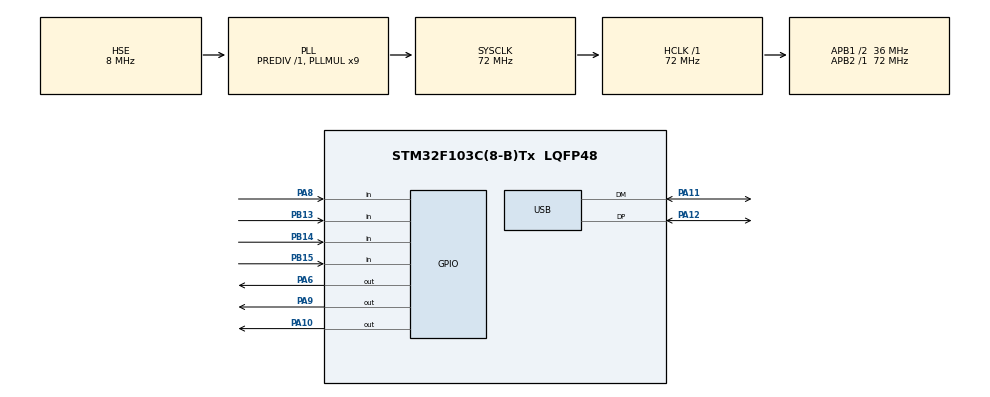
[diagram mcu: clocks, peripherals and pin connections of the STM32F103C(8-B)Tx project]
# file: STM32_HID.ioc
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Mcu.Family=STM32F1
Mcu.Name=STM32F103C(8-B)Tx
Mcu.Package=LQFP48
NVIC.PriorityGroup=NVIC_PRIORITYGROUP_4
NVIC.USB_LP_CAN1_RX0_IRQn=true\:0\:0\:false\:false\:true\:false
PA10.GPIO_Speed=GPIO_SPEED_FREQ_HIGH
PA10.PinState=GPIO_PIN_SET
PA10.Signal=GPIO_Output
PA11.Mode=Device
PA11.Signal=USB_DM
PA12.Mode=Device
PA12.Signal=USB_DP
PA13.Mode=Serial_Wire
PA13.Signal=SYS_JTMS-SWDIO
PA14.Mode=Serial_Wire
PA14.Signal=SYS_JTCK-SWCLK
PA6.GPIO_Speed=GPIO_SPEED_FREQ_HIGH
PA6.PinState=GPIO_PIN_SET
PA6.Signal=GPIO_Output
PA8.Signal=GPIO_Input
PA9.GPIO_Speed=GPIO_SPEED_FREQ_MEDIUM
PA9.PinState=GPIO_PIN_SET
PA9.Signal=GPIO_Output
PB13.Signal=GPIO_Input
PB14.Signal=GPIO_Input
PB15.Signal=GPIO_Input
PD0-OSC_IN.Mode=HSE-External-Oscillator
PD0-OSC_IN.Signal=RCC_OSC_IN
PD1-OSC_OUT.Mode=HSE-External-Oscillator
PD1-OSC_OUT.Signal=RCC_OSC_OUT
ProjectManager.HeapSize=0x200
ProjectManager.StackSize=0x400
ProjectManager.TargetToolchain=MDK-ARM V5
RCC.AHBFreq_Value=72000000
RCC.APB1CLKDivider=RCC_HCLK_DIV2
RCC.APB1Freq_Value=36000000
RCC.APB1TimFreq_Value=72000000
RCC.APB2Freq_Value=72000000
RCC.APB2TimFreq_Value=72000000
RCC.HCLKFreq_Value=72000000
RCC.PLLMUL=RCC_PLL_MUL9
RCC.SYSCLKFreq_VALUE=72000000
RCC.SYSCLKSource=RCC_SYSCLKSOURCE_PLLCLK
RCC.USBFreq_Value=48000000
RCC.USBPrescaler=RCC_USBCLKSOURCE_PLL_DIV1_5
USB_DEVICE.CLASS_NAME_FS=HID
USB_DEVICE.MANUFACTURER_STRING=Geekchun
USB_DEVICE.PID_HID_FS=20315
USB_DEVICE.PRODUCT_STRING_HID_FS=Geekchun KeyBoard
USB_DEVICE.VID=1055
USB_DEVICE.VirtualMode=Hid
USB_DEVICE.VirtualModeFS=Hid_FS
VP_USB_DEVICE_VS_USB_DEVICE_HID_FS.Mode=HID_FS
board=STM32_HID

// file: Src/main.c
/**
  ******************************************************************************
  * @file           : main.c
  * @brief          : Main program body
  ******************************************************************************
  * This notice applies to any and all portions of this file
  * that are not between comment pairs USER CODE BEGIN and
  * USER CODE END. Other portions of this file, whether
  * inserted by the user or by software development tools
  * are owned by their respective copyright owners.
  *
  * Copyright (c) 2020 STMicroelectronics International N.V.
  * All rights reserved.
  *
  * Redistribution and use in source and binary forms, with or without
  * modification, are permitted, provided that the following conditions are met:
  *
  * 1. Redistribution of source code must retain the above copyright notice,
  *    this list of conditions and the following disclaimer.
  * 2. Redistributions in binary form must reproduce the above copyright notice,
  *    this list of conditions and the following disclaimer in the documentation
  *    and/or other materials provided with the distribution.
  * 3. Neither the name of STMicroelectronics nor the names of other
  *    contributors to this software may be used to endorse or promote products
  *    derived from this software without specific written permission.
  * 4. This software, including modifications and/or derivative works of this
  *    software, must execute solely and exclusively on microcontroller or
  *    microprocessor devices manufactured by or for STMicroelectronics.
  * 5. Redistribution and use of this software other than as permitted under
  *    this license is void and will automatically terminate your rights under
  *    this license.
  *
  * THIS SOFTWARE IS PROVIDED BY STMICROELECTRONICS AND CONTRIBUTORS "AS IS"
  * AND ANY EXPRESS, IMPLIED OR STATUTORY WARRANTIES, INCLUDING, BUT NOT
  * LIMITED TO, THE IMPLIED WARRANTIES OF MERCHANTABILITY, FITNESS FOR A
  * PARTICULAR PURPOSE AND NON-INFRINGEMENT OF THIRD PARTY INTELLECTUAL PROPERTY
  * RIGHTS ARE DISCLAIMED TO THE FULLEST EXTENT PERMITTED BY LAW. IN NO EVENT
  * SHALL STMICROELECTRONICS OR CONTRIBUTORS BE LIABLE FOR ANY DIRECT, INDIRECT,
  * INCIDENTAL, SPECIAL, EXEMPLARY, OR CONSEQUENTIAL DAMAGES (INCLUDING, BUT NOT
  * LIMITED TO, PROCUREMENT OF SUBSTITUTE GOODS OR SERVICES; LOSS OF USE, DATA,
  * OR PROFITS; OR BUSINESS INTERRUPTION) HOWEVER CAUSED AND ON ANY THEORY OF
  * LIABILITY, WHETHER IN CONTRACT, STRICT LIABILITY, OR TORT (INCLUDING
  * NEGLIGENCE OR OTHERWISE) ARISING IN ANY WAY OUT OF THE USE OF THIS SOFTWARE,
  * EVEN IF ADVISED OF THE POSSIBILITY OF SUCH DAMAGE.
  *
  ******************************************************************************
  */
#include "main.h"
#include "stm32f1xx_hal.h"
#include "usb_device.h"
#include "usbd_hid.h"
#include "ws2812.h"
/* USER CODE BEGIN Includes */

/*Keyboard ID Buffer*/
uint8_t send_buf[8]={0,0,4,0,0,0,0,0};
uint8_t send_buf_1[8]={0};
extern USBD_HandleTypeDef hUsbDeviceFS;

/*WS2812 Color data*/
uint32_t WS2812_Color[4]={0x050f05,0x03030f,0x050f00,0x0f0005};
uint8_t color_num=0;

/* USER CODE END Includes */

/* USER CODE BEGIN PV */
/* Private variables ---------------------------------------------------------*/

/* USER CODE END PV */

void SystemClock_Config(void);
static void MX_GPIO_Init(void);

/* USER CODE BEGIN PFP */
/* Private function prototypes -----------------------------------------------*/

/* USER CODE END PFP */

/* USER CODE BEGIN 0 */

/*Set GPIOA (8,9,10)as output pin ,Set GPIOB (13,14,15)as input pin*/
void GPIO_AOBI(void)
{
	GPIO_InitTypeDef GPIO_InitStruct;
	HAL_GPIO_DeInit(GPIOA,GPIO_PIN_8|GPIO_PIN_9|GPIO_PIN_10);
	HAL_GPIO_DeInit(GPIOB,GPIO_PIN_13|GPIO_PIN_14|GPIO_PIN_15);

	GPIO_InitStruct.Pin = GPIO_PIN_8|GPIO_PIN_9|GPIO_PIN_10;
  GPIO_InitStruct.Mode = GPIO_MODE_OUTPUT_PP;
  GPIO_InitStruct.Speed = GPIO_SPEED_FREQ_HIGH;
  HAL_GPIO_Init(GPIOA, &GPIO_InitStruct);

  /*Configure GPIO pins : PB13 PB14 PB15 */
  GPIO_InitStruct.Pin = GPIO_PIN_13|GPIO_PIN_14|GPIO_PIN_15;
  GPIO_InitStruct.Mode = GPIO_MODE_INPUT;
  GPIO_InitStruct.Pull = GPIO_PULLDOWN;
  HAL_GPIO_Init(GPIOB, &GPIO_InitStruct);

	HAL_GPIO_WritePin(GPIOA, GPIO_PIN_8|GPIO_PIN_9|GPIO_PIN_10, GPIO_PIN_SET);
}
/*Set GPIOA (8,9,10)as input pin ,Set GPIOB (13,14,15)as output pin*/
void GPIO_AIBO(void)
{
	GPIO_InitTypeDef GPIO_InitStruct;
	HAL_GPIO_DeInit(GPIOA,GPIO_PIN_8|GPIO_PIN_9|GPIO_PIN_10);
	HAL_GPIO_DeInit(GPIOB,GPIO_PIN_13|GPIO_PIN_14|GPIO_PIN_15);

	GPIO_InitStruct.Pin = GPIO_PIN_8|GPIO_PIN_9|GPIO_PIN_10;
	GPIO_InitStruct.Mode = GPIO_MODE_INPUT;
  GPIO_InitStruct.Pull = GPIO_PULLUP;
  HAL_GPIO_Init(GPIOA, &GPIO_InitStruct);

  /*Configure GPIO pins : PB13 PB14 PB15 */
  GPIO_InitStruct.Pin = GPIO_PIN_13|GPIO_PIN_14|GPIO_PIN_15;
  GPIO_InitStruct.Mode = GPIO_MODE_OUTPUT_PP;
  GPIO_InitStruct.Speed = GPIO_SPEED_FREQ_HIGH;
  HAL_GPIO_Init(GPIOB, &GPIO_InitStruct);

	HAL_GPIO_WritePin(GPIOB, GPIO_PIN_13|GPIO_PIN_14|GPIO_PIN_15, GPIO_PIN_RESET);

}
/*Send a Keyboard ID*/
void send(uint8_t key)
{
		send_buf[2]=key;
		USBD_HID_SendReport(&hUsbDeviceFS,(uint8_t*)&send_buf_1,sizeof(send_buf_1));
		HAL_Delay(15);
		USBD_HID_SendReport(&hUsbDeviceFS,(uint8_t*)&send_buf,sizeof(send_buf));
		HAL_Delay(15);
		USBD_HID_SendReport(&hUsbDeviceFS,(uint8_t*)&send_buf_1,sizeof(send_buf_1));
}
/*Keys Scan function,if any button pushed ,call send()function send a id ,change led color*/
void key_scan(void)
{
	GPIO_AOBI();
	if(HAL_GPIO_ReadPin(GPIOB,GPIO_PIN_13)==GPIO_PIN_SET)
	{
		HAL_Delay(20);
		GPIO_AIBO();
		if(HAL_GPIO_ReadPin(GPIOA,GPIO_PIN_8)==GPIO_PIN_RESET)
		{
			send(32);

			WS2812_Color_Set(WS2812_Color[(++color_num)%4]);return ;
		}
		if(HAL_GPIO_ReadPin(GPIOA,GPIO_PIN_9)==GPIO_PIN_RESET)
		{
			send(35);

			WS2812_Color_Set(WS2812_Color[(++color_num)%4]);return ;
		}
		if(HAL_GPIO_ReadPin(GPIOA,GPIO_PIN_10)==GPIO_PIN_RESET)
		{
			send(38);

			WS2812_Color_Set(WS2812_Color[(++color_num)%4]);return ;
		}

	}
	if(HAL_GPIO_ReadPin(GPIOB,GPIO_PIN_14)==GPIO_PIN_SET)
	{
		HAL_Delay(20);
		GPIO_AIBO();
		if(HAL_GPIO_ReadPin(GPIOA,GPIO_PIN_8)==GPIO_PIN_RESET)
		{
			send(31);

			WS2812_Color_Set(WS2812_Color[(++color_num)%4]);return ;
		}
		if(HAL_GPIO_ReadPin(GPIOA,GPIO_PIN_9)==GPIO_PIN_RESET)
		{
			send(34);

			WS2812_Color_Set(WS2812_Color[(++color_num)%4]);return ;
		}
		if(HAL_GPIO_ReadPin(GPIOA,GPIO_PIN_10)==GPIO_PIN_RESET)
		{
			send(37);

			WS2812_Color_Set(WS2812_Color[(++color_num)%4]);return ;
		}
	}
		if(HAL_GPIO_ReadPin(GPIOB,GPIO_PIN_15)==GPIO_PIN_SET)
	{
			HAL_Delay(20);
			GPIO_AIBO();
			if(HAL_GPIO_ReadPin(GPIOA,GPIO_PIN_8)==GPIO_PIN_RESET)
		{
			send(30);

			WS2812_Color_Set(WS2812_Color[(++color_num)%4]);return ;
		}
		if(HAL_GPIO_ReadPin(GPIOA,GPIO_PIN_9)==GPIO_PIN_RESET)
		{
			send(33);

			WS2812_Color_Set(WS2812_Color[(++color_num)%4]);return ;
		}
		if(HAL_GPIO_ReadPin(GPIOA,GPIO_PIN_10)==GPIO_PIN_RESET)
		{
			send(36);

			WS2812_Color_Set(WS2812_Color[(++color_num)%4]);return ;
		}
	}
}
/* USER CODE END 0 */

int main(void)
{

  /* MCU Configuration----------------------------------------------------------*/

  /* Reset of all peripherals, Initializes the Flash interface and the Systick. */
  HAL_Init();

  /* Configure the system clock */
  SystemClock_Config();

  /* Initialize all configured peripherals */
  MX_GPIO_Init();
  MX_USB_DEVICE_Init();
	WS2812_Init();
	WS2812_Color_Set(0x050f05);

  /* Infinite loop */
  /* USER CODE BEGIN WHILE */
  while (1)
  {
		key_scan();
	//if(HAL_GPIO_ReadPin(GPIOB,GPIO_PIN_13)==GPIO_PIN_SET)send(7);
  /* USER CODE END WHILE */

  }

}

void SystemClock_Config(void)
{

  RCC_OscInitTypeDef RCC_OscInitStruct;
  RCC_ClkInitTypeDef RCC_ClkInitStruct;
  RCC_PeriphCLKInitTypeDef PeriphClkInit;

    /**Initializes the CPU, AHB and APB busses clocks
    */
  RCC_OscInitStruct.OscillatorType = RCC_OSCILLATORTYPE_HSE;
  RCC_OscInitStruct.HSEState = RCC_HSE_ON;
  RCC_OscInitStruct.HSEPredivValue = RCC_HSE_PREDIV_DIV1;
  RCC_OscInitStruct.HSIState = RCC_HSI_ON;
  RCC_OscInitStruct.PLL.PLLState = RCC_PLL_ON;
  RCC_OscInitStruct.PLL.PLLSource = RCC_PLLSOURCE_HSE;
  RCC_OscInitStruct.PLL.PLLMUL = RCC_PLL_MUL9;
  if (HAL_RCC_OscConfig(&RCC_OscInitStruct) != HAL_OK)
  {
    _Error_Handler(__FILE__, __LINE__);
  }

    /**Initializes the CPU, AHB and APB busses clocks
    */
  RCC_ClkInitStruct.ClockType = RCC_CLOCKTYPE_HCLK|RCC_CLOCKTYPE_SYSCLK
                              |RCC_CLOCKTYPE_PCLK1|RCC_CLOCKTYPE_PCLK2;
  RCC_ClkInitStruct.SYSCLKSource = RCC_SYSCLKSOURCE_PLLCLK;
  RCC_ClkInitStruct.AHBCLKDivider = RCC_SYSCLK_DIV1;
  RCC_ClkInitStruct.APB1CLKDivider = RCC_HCLK_DIV2;
  RCC_ClkInitStruct.APB2CLKDivider = RCC_HCLK_DIV1;

  if (HAL_RCC_ClockConfig(&RCC_ClkInitStruct, FLASH_LATENCY_2) != HAL_OK)
  {
    _Error_Handler(__FILE__, __LINE__);
  }

  PeriphClkInit.PeriphClockSelection = RCC_PERIPHCLK_USB;
  PeriphClkInit.UsbClockSelection = RCC_USBCLKSOURCE_PLL_DIV1_5;
  if (HAL_RCCEx_PeriphCLKConfig(&PeriphClkInit) != HAL_OK)
  {
    _Error_Handler(__FILE__, __LINE__);
  }

    /**Configure the Systick interrupt time
    */
  HAL_SYSTICK_Config(HAL_RCC_GetHCLKFreq()/1000);

    /**Configure the Systick
    */
  HAL_SYSTICK_CLKSourceConfig(SYSTICK_CLKSOURCE_HCLK);

  /* SysTick_IRQn interrupt configuration */
  HAL_NVIC_SetPriority(SysTick_IRQn, 0, 0);
}

/** Configure pins as
        * Analog
        * Input
        * Output
        * EVENT_OUT
        * EXTI
*/
static void MX_GPIO_Init(void)
{

  GPIO_InitTypeDef GPIO_InitStruct;

  /* GPIO Ports Clock Enable */
  __HAL_RCC_GPIOD_CLK_ENABLE();
  __HAL_RCC_GPIOA_CLK_ENABLE();
  __HAL_RCC_GPIOB_CLK_ENABLE();

  /*Configure GPIO pin Output Level */
  HAL_GPIO_WritePin(GPIOA, GPIO_PIN_8|GPIO_PIN_9|GPIO_PIN_10, GPIO_PIN_SET);

  /*Configure GPIO pins : PA6 PA10 */
  GPIO_InitStruct.Pin = GPIO_PIN_6|GPIO_PIN_8|GPIO_PIN_9|GPIO_PIN_10;
  GPIO_InitStruct.Mode = GPIO_MODE_OUTPUT_PP;
  GPIO_InitStruct.Speed = GPIO_SPEED_FREQ_HIGH;
  HAL_GPIO_Init(GPIOA, &GPIO_InitStruct);

  /*Configure GPIO pins : PB13 PB14 PB15 */
  GPIO_InitStruct.Pin = GPIO_PIN_13|GPIO_PIN_14|GPIO_PIN_15;
  GPIO_InitStruct.Mode = GPIO_MODE_INPUT;
  GPIO_InitStruct.Pull = GPIO_PULLDOWN;
  HAL_GPIO_Init(GPIOB, &GPIO_InitStruct);
}

void _Error_Handler(char *file, int line)
{
  while(1)
  {
  }
}

/************************ (C) COPYRIGHT STMicroelectronics *****END OF FILE****/
